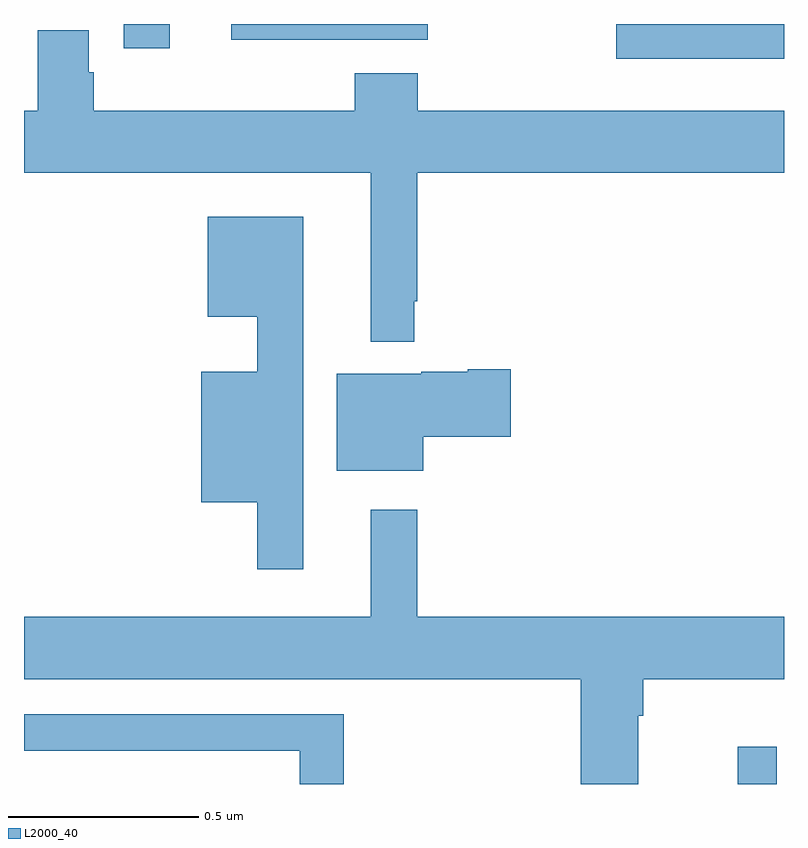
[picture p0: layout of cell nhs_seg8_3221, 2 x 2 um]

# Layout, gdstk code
import gdstk
lib = gdstk.Library(unit=1e-6, precision=1e-09)
def R(c, l, rs):  # rectangles x0, y0, x1, y1
    for r in rs: c.add(gdstk.rectangle(r[:2], r[2:], *l))
def P(c, l, *ps):  # polygons
    for p in ps: c.add(gdstk.Polygon(p, *l))
L2000_40 = (2000, 40)

nhs_seg8_3221 = lib.new_cell('nhs_seg8_3221')
R(nhs_seg8_3221, L2000_40, [(155.878,1106.9,155.981,1106.998), (155.559,1108.808,156,1108.9), (154.262,1108.836,154.384,1108.9), (154.545,1108.859,155.063,1108.9)])
P(nhs_seg8_3221, L2000_40, [(155.027,1108.171),(155.035,1108.171),(155.035,1108.508),(156,1108.508),(156,1108.672),(155.036,1108.672),(155.036,1108.771),(154.871,1108.771),(154.871,1108.672),(154.184,1108.672),(154.184,1108.773),(154.171,1108.773),(154.171,1108.884),(154.036,1108.884),(154.036,1108.672),(154,1108.672),(154,1108.508),(154.913,1108.508),(154.913,1108.064),(155.027,1108.064)],
  [(154.735,1108.393),(154.484,1108.393),(154.484,1108.13),(154.614,1108.13),(154.614,1107.985),(154.466,1107.985),(154.466,1107.641),(154.614,1107.641),(154.614,1107.465),(154.735,1107.465)],
  [(155.05,1107.814),(155.281,1107.814),(155.281,1107.992),(155.168,1107.992),(155.168,1107.985),(155.046,1107.985),(155.046,1107.979),(154.823,1107.979),(154.823,1107.725),(155.05,1107.725)],
  [(155.617,1107.08),(155.63,1107.08),(155.63,1107.176),(156,1107.176),(156,1107.34),(155.035,1107.34),(155.035,1107.622),(154.913,1107.622),(154.913,1107.34),(154,1107.34),(154,1107.176),(155.465,1107.176),(155.465,1106.9),(155.617,1106.9)],
  [(154.841,1107.084),(154,1107.084),(154,1106.988),(154.725,1106.988),(154.725,1106.9),(154.841,1106.9)])

lib.write_gds('nhs_seg8_3221.gds')
